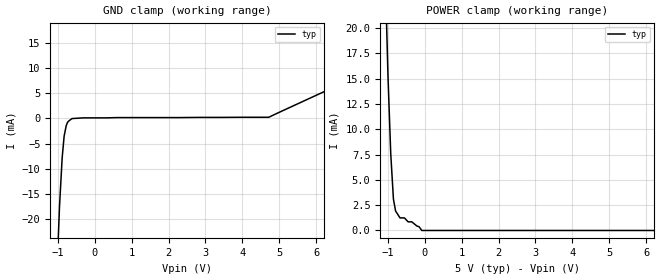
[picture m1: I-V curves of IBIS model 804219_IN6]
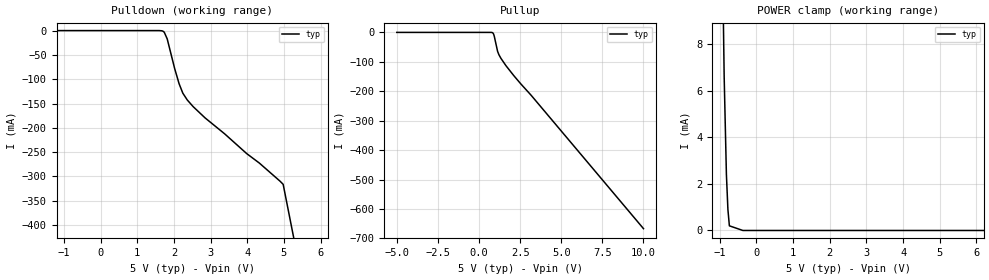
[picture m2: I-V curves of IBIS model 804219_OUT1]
| COPYRIGHT(C) MENTOR GRAPHICS CORPORATION 2001 ALL
| RIGHTS RESERVED. THIS WORK CONTAINS PROPRIETARY
| INFORMATION WHICH IS THE PROPERTY OF MENTOR GRAPHICS
| CORPORATION OR ITS LICENSORS. USE OF THESE MATERIALS
| IS SUBJECT TO THE TERMS BELOW.
| USE: MENTOR GRAPHICS HAS LICENSED IBIS MODELS TO
| SPECIFIC INTEGRATED CIRCUIT SUPPLIERS ("IC VENDORS")
| FOR USE AND DISTRIBUTION AS FOLLOWS: EACH IC VENDOR
| MAY USE IBIS MODELS, AND DISTRIBUTE THEM TO IC VENDOR'S
| CUSTOMERS TO USE, SOLELY FOR DEVELOPING PRINTED
| CIRCUIT BOARD DESIGNS. NO OTHER USE OR DISTRIBUTION
| OF THESE MATERIALS IS PERMITTED.
| DISCLAIMER OF WARRANTY:  UNLESS OTHERWISE AGREED
| IN WRITING, MENTOR GRAPHICS SOFTWARE AND ASSOCIATED
| FILES ARE PROVIDED "AS IS" AND WITHOUT WARRANTY.
| MENTOR GRAPHICS HAS NO OBLIGATION TO SUPPORT OR
| OTHERWISE MAINTAIN SOFTWARE.  MENTOR GRAPHICS MAKES
| NO WARRANTIES, EXPRESS OR IMPLIED WITH RESPECT TO
| SOFTWARE INCLUDING ANY WARRANTY OF MERCHANTABILITY
| OR FITNESS FOR A PARTICULAR PURPOSE.
| LIMITATION OF LIABILITY:  MENTOR GRAPHICS IS NOT LIABLE FOR
| ANY PROPERTY DAMAGE, PERSONAL INJURY, LOSS OF PROFITS,
| INTERRUPTION OF BUSINESS, OR FOR ANY OTHER SPECIAL,
| CONSEQUENTIAL OR INCIDENTAL DAMAGES, HOWEVER CAUSED,
| WHETHER FOR BREACH OF WARRANTY, CONTRACT, TORT
| (INCLUDING NEGLIGENCE), STRICT LIABILITY OR OTHERWISE. IN NO
| EVENT SHALL MENTOR GRAPHICS' LIABILITY EXCEED THE AMOUNT
| PAID FOR THE PRODUCT GIVING RISE TO THE CLAIM.
| TRADEMARKS:  THE FOLLOWING ARE REGISTERED TRADEMARKS
| OR SERVICE MARKS OF MENTOR GRAPHICS CORPORATION:
| ICX, ICX STANDARD LIBRARY, ICX PROJECT MODELING,
| AND ICX CUSTOM MODELING.  THE FOLLOWING ARE TRADEMARKS
| OR SERVICE MARKS OF MENTOR GRAPHICS CORPORATION:
| QUALITYIBIS, MODELVIEWER, AND MODELEDITOR. ALL OTHER
| BRANDS AND PRODUCT NAMES ARE TRADEMARKS OF THEIR
| RESPECTIVE OWNERS.
| COPIES:  ALL COPIES OF SOFTWARE, INCLUDING BUT NOT LIMITED
| TO ANY MODIFICATIONS, ENHANCEMENTS OR DERIVATIVE WORKS
| MUST CONTAIN ALL MENTOR GRAPHICS' NOTICES AND LEGENDS,
| INCLUDING THOSE EMBEDDED IN SOFTWARE AND THOSE AFFIXED
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[IBIS Ver] 3.1
[File Name] mc10el11d_50.ibs
[File Rev] 1
[Source] derived from mc100el11d_50.ibs Measured and created by ICX Technology
[Date] 2/19/2004
[Copyright]
| COPYRIGHT(C) MENTOR GRAPHICS CORPORATION 2001 ALL
| RIGHTS RESERVED. THIS WORK CONTAINS PROPRIETARY
| INFORMATION WHICH IS THE PROPERTY OF MENTOR GRAPHICS
| CORPORATION OR ITS LICENSORS. USE OF THESE MATERIALS
| IS SUBJECT TO THE TERMS BELOW.
| USE: MENTOR GRAPHICS HAS LICENSED IBIS MODELS TO
| SPECIFIC INTEGRATED CIRCUIT SUPPLIERS ("IC VENDORS")
| FOR USE AND DISTRIBUTION AS FOLLOWS: EACH IC VENDOR
| MAY USE IBIS MODELS, AND DISTRIBUTE THEM TO IC VENDOR'S
| CUSTOMERS TO USE, SOLELY FOR DEVELOPING PRINTED
| CIRCUIT BOARD DESIGNS. NO OTHER USE OR DISTRIBUTION
| OF THESE MATERIALS IS PERMITTED.
|  ZAP Model Builder 3.2
[Component] MC10EL11D_50
[Manufacturer] OnSemiconductor
[Package]
| variable   typ   min   max
R_pkg  .152ohms NA NA
L_pkg  2.714nH NA NA
C_pkg  .364pF NA NA
[Pin] signal_name  model_name  R_pin  L_pin C_pin
1 Q0 804219_OUT1 .154 2.924n .374p
2 _Q0 804219_OUT2 .15 2.504n .354p
3 Q1 804219_OUT3 .15 2.504n .354p
4 _Q1 804219_OUT4 .154 2.924n .374p
5 VEE POWER .154 2.924n .374p
6 _D 804219_IN6 .15 2.504n .354p
7 D 804219_IN7 .15 2.504n .354p
8 VCC POWER .154 2.924n .374p
[Diff Pin] inv_pin vdiff tdelay_typ tdelay_min tdelay_max
1 2 NA 0.005ns NA 0.02ns
3 4 NA 0.005ns NA 0.02ns
7 6 350mV NA NA NA
| Models and submodels in the file (6): 804219_IN6 (Input_ECL), 804219_IN7 (Input_ECL), 804219_OUT1 (Output_ECL), 804219_OUT2 (Output_ECL), 804219_OUT3 (Output_ECL), 804219_OUT4 (Output_ECL)
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| COPYRIGHT(C) MENTOR GRAPHICS CORPORATION 2001 ALL
| RIGHTS RESERVED. THIS WORK CONTAINS PROPRIETARY
| INFORMATION WHICH IS THE PROPERTY OF MENTOR GRAPHICS
| CORPORATION OR ITS LICENSORS. USE OF THESE MATERIALS
| IS SUBJECT TO THE TERMS BELOW.
| USE: MENTOR GRAPHICS HAS LICENSED IBIS MODELS TO
| SPECIFIC INTEGRATED CIRCUIT SUPPLIERS ("IC VENDORS")
| FOR USE AND DISTRIBUTION AS FOLLOWS: EACH IC VENDOR
| MAY USE IBIS MODELS, AND DISTRIBUTE THEM TO IC VENDOR'S
| CUSTOMERS TO USE, SOLELY FOR DEVELOPING PRINTED
| CIRCUIT BOARD DESIGNS. NO OTHER USE OR DISTRIBUTION
| OF THESE MATERIALS IS PERMITTED.
| Model Application Version 1.89 2/18/99.
[Model] 804219_IN6
Model_type Input_ECL
Vinl = 3.520V
Vinh = 3.835V
C_comp 2.00pF NA NA
| variable typ   min   max
[Voltage Range] 5.000V NA NA
[GND Clamp Reference] 0.000V NA NA
[POWER Clamp Reference] 5.000V NA NA
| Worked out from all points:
|   GND clamp passes 1 mA (typ) near -0.74 V on its own axis
|   POWER clamp passes 1 mA (typ) near -0.48 V on its own axis
[GND Clamp]
-5V       -1.278A    NA         NA
-1.016V   -30mA      NA         NA
-951.1mV  -17.66mA   NA         NA
-878.9mV  -7.901mA   NA         NA
-825mV    -3.516mA   NA         NA
-769.3mV  -1.457mA   NA         NA
-731.5mV  -764.4uA   NA         NA
-610.2mV  -34.91uA   NA         NA
608.7mV   159uA      NA         NA
4.711V    221.9uA    NA         NA
10V       18.13mA    NA         NA
[POWER Clamp]
-5V       1.178A     NA         NA
-1.094V   29.19mA    NA         NA
-991mV    15.2mA     NA         NA
-917mV    7.596mA    NA         NA
-844mV    3.099mA    NA         NA
-786mV    1.927mA    NA         NA
-666.5mV  1.243mA    NA         NA
-547mV    1.243mA    NA         NA
-447mV    854.7uA    NA         NA
-347mV    854.7uA    NA         NA
-76mV     0A         NA         NA
10V       0A         NA         NA
| COPYRIGHT(C) MENTOR GRAPHICS CORPORATION 2001 ALL
| RIGHTS RESERVED. THIS WORK CONTAINS PROPRIETARY
| INFORMATION WHICH IS THE PROPERTY OF MENTOR GRAPHICS
| CORPORATION OR ITS LICENSORS. USE OF THESE MATERIALS
| IS SUBJECT TO THE TERMS BELOW.
| USE: MENTOR GRAPHICS HAS LICENSED IBIS MODELS TO
| SPECIFIC INTEGRATED CIRCUIT SUPPLIERS ("IC VENDORS")
| FOR USE AND DISTRIBUTION AS FOLLOWS: EACH IC VENDOR
| MAY USE IBIS MODELS, AND DISTRIBUTE THEM TO IC VENDOR'S
| CUSTOMERS TO USE, SOLELY FOR DEVELOPING PRINTED
| CIRCUIT BOARD DESIGNS. NO OTHER USE OR DISTRIBUTION
| OF THESE MATERIALS IS PERMITTED.
| Model Application Version 1.89 2/18/99.
[Model] 804219_OUT1
Model_type Output_ECL
Vref=3.000V
Rref=50.00ohms
Cref=0.000F
Vmeas=3.550V
C_comp 2.00pF NA NA
| variable typ   min   max
[Voltage Range] 5.000V NA NA
[POWER Clamp Reference] 5.000V NA NA
[Pullup Reference] 5.000V NA NA
[Pulldown Reference] 5.000V NA NA
[GND Clamp Reference] 0.000V NA NA
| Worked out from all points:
|   POWER clamp passes 1 mA (typ) near -0.78 V on its own axis
[GND Clamp]
-5V       0A         NA         NA
10V       0A         NA         NA
[Pulldown]
-5V       0A         NA         NA
1.696V    -1mA       NA         NA
1.737V    -3.3mA     NA         NA
1.818V    -17.1mA    NA         NA
2.02V     -77.8mA    NA         NA
2.142V    -109.3mA   NA         NA
2.243V    -128.6mA   NA         NA
2.365V    -142.7mA   NA         NA
2.851V    -179.6mA   NA         NA
4.331V    -272.5mA   NA         NA
4.98V     -316.2mA   NA         NA
10V       -2.236A    NA         NA
[Pullup]
-5V       0A         NA         NA
845mV     -2mA       NA         NA
926mV     -12.7mA    NA         NA
1.129V    -64.4mA    NA         NA
1.21V     -75.9mA    NA         NA
1.635V    -112.9mA   NA         NA
2.101V    -146mA     NA         NA
3.176V    -214.1mA   NA         NA
10V       -666.9mA   NA         NA
[POWER Clamp]
-5V       895.7mA    NA         NA
-1.121V   38.5mA     NA         NA
-1.02V    22.5mA     NA         NA
-878mV    6.6mA      NA         NA
-817mV    2.4mA      NA         NA
-776mV    900uA      NA         NA
-736mV    200uA      NA         NA
-368mV    0A         NA         NA
10V       0A         NA         NA
[Ramp]
| variable typ min max
dV/dt_r 311.1m/272.3p NA NA
dV/dt_f 311.1m/202.7p NA NA
R_load = 50.00Ohms
